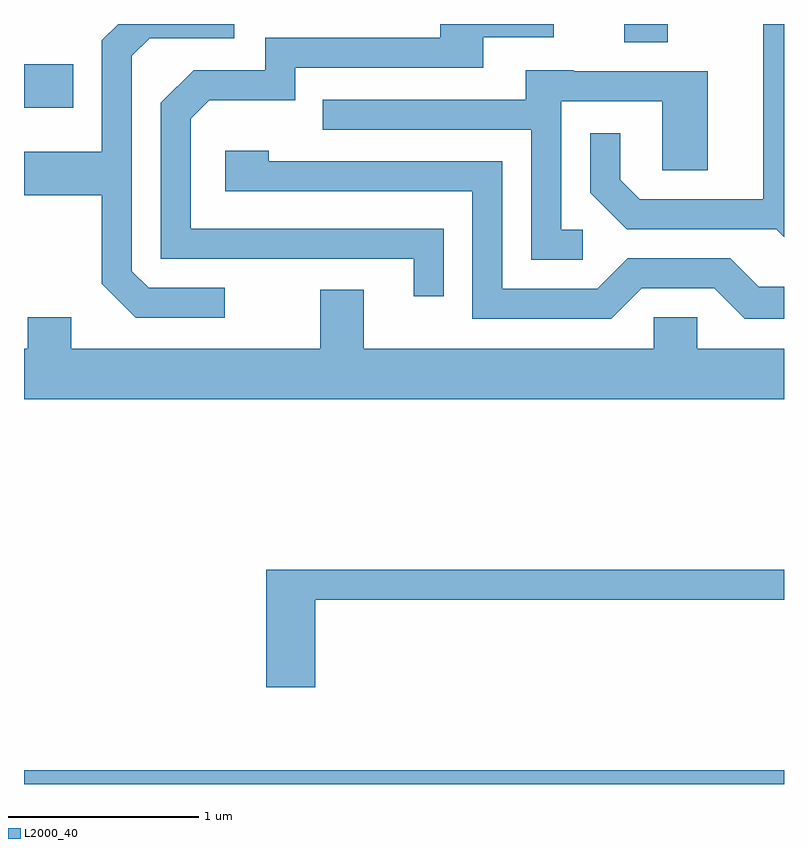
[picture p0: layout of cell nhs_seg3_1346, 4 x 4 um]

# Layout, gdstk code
import gdstk
lib = gdstk.Library(unit=1e-6, precision=1e-09)
def R(c, l, rs):  # rectangles x0, y0, x1, y1
    for r in rs: c.add(gdstk.rectangle(r[:2], r[2:], *l))
def P(c, l, *ps):  # polygons
    for p in ps: c.add(gdstk.Polygon(p, *l))
L2000_40 = (2000, 40)

nhs_seg3_1346 = lib.new_cell('nhs_seg3_1346')
R(nhs_seg3_1346, L2000_40, [(223.611,1223.892,227.611,1223.964), (223.611,1227.451,223.869,1227.679), (226.771,1227.796,226.999,1227.892)])
P(nhs_seg3_1346, L2000_40, [(227.611,1227.892),(227.501,1227.892),(227.501,1226.969),(226.852,1226.969),(226.749,1227.072),(226.749,1227.318),(226.591,1227.318),(226.591,1227.004),(226.784,1226.811),(227.569,1226.811),(227.611,1226.769)],
  [(224.668,1226.504),(224.267,1226.504),(224.179,1226.592),(224.179,1227.724),(224.272,1227.816),(224.718,1227.816),(224.718,1227.892),(224.107,1227.892),(224.021,1227.807),(224.021,1227.219),(223.611,1227.219),(223.611,1226.991),(224.021,1226.991),(224.021,1226.524),(224.199,1226.346),(224.668,1226.346)],
  [(225.819,1226.814),(224.489,1226.814),(224.489,1227.394),(224.587,1227.491),(225.039,1227.491),(225.039,1227.661),(226.029,1227.661),(226.029,1227.821),(226.398,1227.821),(226.398,1227.892),(225.801,1227.892),(225.801,1227.819),(224.881,1227.819),(224.881,1227.649),(224.504,1227.649),(224.331,1227.477),(224.331,1226.656),(225.661,1226.656),(225.661,1226.458),(225.819,1226.458)],
  [(226.553,1226.809),(226.439,1226.809),(226.439,1227.486),(226.971,1227.486),(226.971,1227.121),(227.209,1227.121),(227.209,1227.644),(226.505,1227.644),(226.505,1227.649),(226.251,1227.649),(226.251,1227.494),(225.183,1227.494),(225.183,1227.336),(226.281,1227.336),(226.281,1226.651),(226.553,1226.651)],
  [(226.862,1226.501),(227.244,1226.501),(227.404,1226.341),(227.611,1226.341),(227.611,1226.509),(227.477,1226.509),(227.327,1226.659),(226.789,1226.659),(226.629,1226.499),(226.129,1226.499),(226.129,1227.169),(224.899,1227.169),(224.899,1227.224),(224.671,1227.224),(224.671,1227.011),(225.971,1227.011),(225.971,1226.341),(226.702,1226.341)],
  [(227.611,1226.184),(227.154,1226.184),(227.154,1226.349),(226.926,1226.349),(226.926,1226.184),(225.399,1226.184),(225.399,1226.494),(225.171,1226.494),(225.171,1226.184),(223.859,1226.184),(223.859,1226.349),(223.631,1226.349),(223.631,1226.184),(223.611,1226.184),(223.611,1225.916),(227.611,1225.916)],
  [(225.144,1224.861),(227.611,1224.861),(227.611,1225.019),(224.886,1225.019),(224.886,1224.401),(225.144,1224.401)])

lib.write_gds('nhs_seg3_1346.gds')
